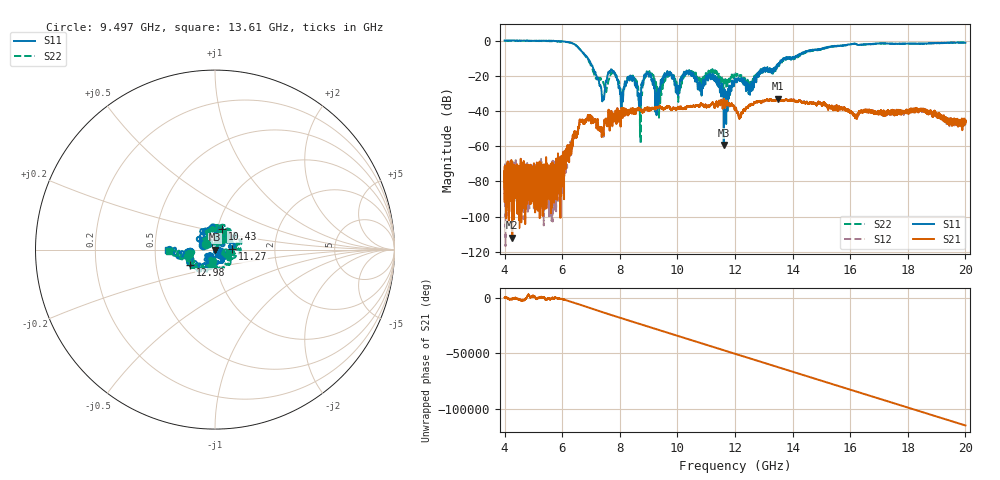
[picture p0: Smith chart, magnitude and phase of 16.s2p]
[Version] 2.0
! Rohde & Schwarz Vector Network Analyzer
! Rohde-Schwarz,ZNL20-2Port,1323001220200009,1.71.1.10-23.02.1.238
! Port Assignments:
! Nominal Port -> Actual Test Port
!  1 -> 1
!  2 -> 2
! Created: GMT+2 2025-01-17 12:11:59
# Hz S RI R 50
[Number of Ports] 2
[Two-Port Data Order] 21_12
! freq[Hz]  S11[Re]  S11[Im]  S21[Re]  S21[Im]  S12[Re]  S12[Im]  S22[Re]  S22[Im]
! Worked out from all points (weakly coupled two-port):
!   16001 points, 4 GHz to 20 GHz, reference 50 ohm
!   highest |S21| = -33.01 dB at 13.48 GHz (marker M1); lowest = -112.0 dB at 4.266 GHz (marker M2)
!   lowest |S11| = -59.3 dB at 11.61 GHz (marker M3), VSWR 1.00, Z = 50 - j0.0994 ohm
!   |S11| at or under -10 dB: 6.884 GHz to 13.7 GHz (6.817 GHz wide, 66.2 % of centre); 13.71243 GHz to 13.74177 GHz (29.35 MHz wide, 0.214 % of centre); 13.94227 GHz to 13.96579 GHz (23.51 MHz wide, 0.169 % of centre) (the widest 3 of 9)
!   |S22| runs from -58.7 to 0.0 dB; largest |S21 - S12| = 0.003
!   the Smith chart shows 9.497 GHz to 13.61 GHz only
!   S11 on the Smith chart (normalised r, x): 9.497 GHz: 0.87, +0.04; 10.43 GHz: 1.05, +0.25; 11.27 GHz: 1.21, +0.01; 12.98 GHz: 0.75, -0.13; 13.61 GHz: 0.58, -0.00
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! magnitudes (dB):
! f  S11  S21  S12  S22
! 4 GHz  0.0  -80.3  -87.0  -0.2
! 4.266 GHz  0.0  -112.0  -79.7  -0.2
! 5.751 GHz  -0.2  -85.3  -77.7  -0.5
! 6.667 GHz  -6.0  -45.4  -45.4  -6.1
! 7.411 GHz  -32.5  -49.5  -50.1  -23.1
! 7.723 GHz  -16.8  -43.0  -42.9  -18.8
! 8.048 GHz  -40.1  -40.2  -40.0  -32.7
! 8.429 GHz  -22.9  -40.5  -40.6  -21.5
! 8.715 GHz  -35.0  -39.0  -39.0  -39.0
! 9.004 GHz  -20.4  -38.4  -38.5  -18.7
! 9.334 GHz  -27.8  -38.1  -38.0  -31.1
! 9.497 GHz  -22.9  -38.8  -38.6  -24.8
! 10.43 GHz  -18.3  -37.7  -37.5  -18.0
! 11.27 GHz  -20.3  -36.9  -37.0  -17.5
! 11.61 GHz  -59.3  -33.4  -33.4  -25.1
! 12 GHz  -22.4  -39.0  -39.3  -19.5
! 12.98 GHz  -15.8  -34.4  -34.3  -15.6
! 13.48 GHz  -13.2  -33.0  -33.1  -14.4
! 13.61 GHz  -11.5  -34.1  -33.9  -11.8
! 14.67 GHz  -5.4  -35.3  -35.4  -5.9
! 17.33 GHz  -1.7  -40.6  -41.4  -1.8
! 20 GHz  -1.2  -45.8  -46.4  -1.2
